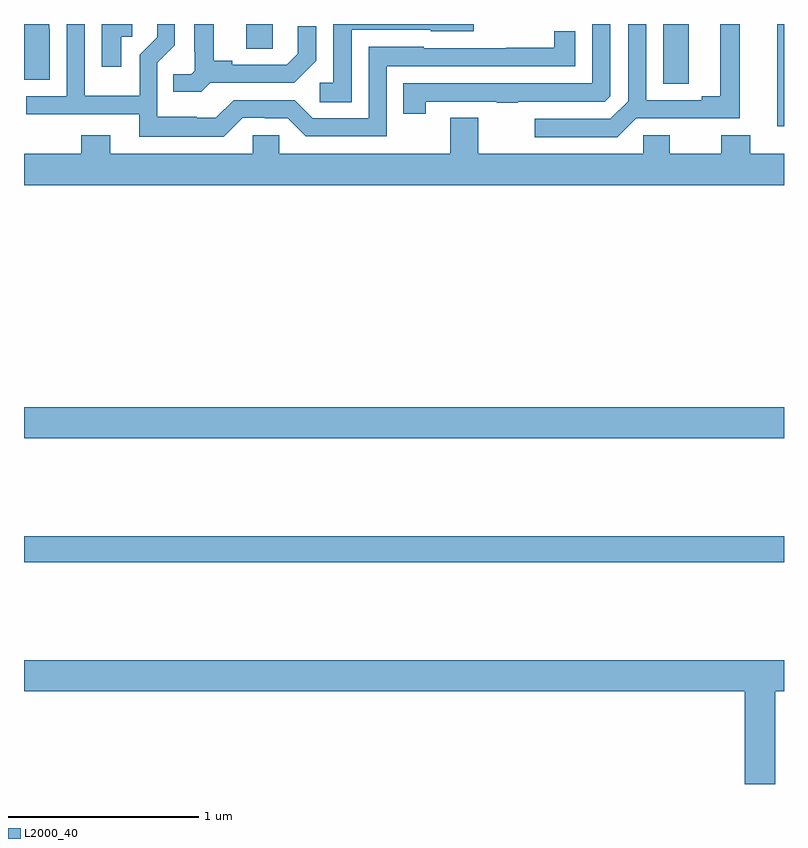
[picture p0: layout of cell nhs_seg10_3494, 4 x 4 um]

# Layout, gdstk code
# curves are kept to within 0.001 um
import gdstk
lib = gdstk.Library(unit=1e-6, precision=1e-09)
def R(c, l, rs):  # rectangles x0, y0, x1, y1
    for r in rs: c.add(gdstk.rectangle(r[:2], r[2:], *l))
def P(c, l, *ps):  # polygons
    for p in ps: c.add(gdstk.Polygon(p, *l))
L2000_40 = (2000, 40)

nhs_seg10_3494 = lib.new_cell('nhs_seg10_3494')
R(nhs_seg10_3494, L2000_40, [(301,1295.668,305,1295.804), (301,1296.32,305,1296.484), (304.964,1297.962,305,1298.5), (304.364,1298.185,304.498,1298.5), (302.171,1298.371,302.31,1298.5)])
P(nhs_seg10_3494, L2000_40, [(303.114,1298.091),(303.487,1298.091),(303.487,1298.086),(303.599,1298.086),(303.599,1298.091),(304.056,1298.091),(304.086,1298.121),(304.086,1298.5),(303.989,1298.5),(303.99,1298.187),(302.995,1298.187),(302.995,1298.028),(303.114,1298.028)],
  [(302.151,1298.007),(302.268,1298.007),(302.268,1298.004),(302.388,1298.004),(302.484,1297.908),(302.91,1297.908),(302.91,1298.277),(303.9,1298.277),(303.9,1298.462),(303.792,1298.462),(303.792,1298.374),(303.105,1298.373),(303.105,1298.38),(302.814,1298.38),(302.814,1298.004),(302.52,1298.004),(302.424,1298.1),(302.103,1298.1),(302.01,1298.007),(301.91,1298.007),(301.91,1298.011),(301.701,1298.011),(301.701,1298.295),(301.794,1298.388),(301.794,1298.5),(301.7,1298.5),(301.7,1298.43),(301.608,1298.338),(301.608,1298.122),(301.32,1298.122),(301.32,1298.5),(301.224,1298.5),(301.224,1298.121),(301.011,1298.121),(301.011,1298.025),(301.607,1298.025),(301.607,1297.907),(302.051,1297.907)],
  [(301.513,1298.433),(301.57,1298.433),(301.57,1298.5),(301.409,1298.5),(301.409,1298.274),(301.513,1298.274)],
  [(301.135,1298.474),(301.134,1298.474),(301.134,1298.5),(301,1298.5),(301,1298.206),(301.135,1298.206)],
  [(301.98,1298.19),(302.422,1298.19),(302.538,1298.306),(302.538,1298.488),(302.441,1298.488),(302.441,1298.343),(302.384,1298.286),(302.095,1298.286),(302.095,1298.306),(301.999,1298.306),(301.999,1298.5),(301.895,1298.5),(301.895,1298.353),(301.899,1298.353),(301.899,1298.253),(301.881,1298.235),(301.786,1298.235),(301.786,1298.143),(301.932,1298.143)],
  [(304.222,1298.004),(304.768,1298.004),(304.768,1298.5),(304.664,1298.5),(304.664,1298.12),(304.568,1298.12),(304.568,1298.1),(304.275,1298.1),(304.275,1298.5),(304.179,1298.5),(304.179,1298.094),(304.086,1298.001),(303.687,1298.001),(303.687,1297.905),(304.123,1297.905)],
  [(302.724,1298.469),(303.141,1298.469),(303.141,1298.463),(303.366,1298.463),(303.366,1298.5),(302.628,1298.5),(302.628,1298.19),(302.556,1298.19),(302.556,1298.089),(302.724,1298.089)],
  [(304.26,1297.914),(304.26,1297.816),(303.391,1297.816),(303.391,1298.006),(303.244,1298.006),(303.244,1297.816),(302.343,1297.816),(302.343,1297.914),(302.205,1297.914),(302.205,1297.816),(301.453,1297.816),(301.453,1297.915),(301.301,1297.915),(301.301,1297.816),(301,1297.816),(301,1297.652),(305,1297.652),(305,1297.816),(304.823,1297.816),(304.823,1297.915),(304.67,1297.915),(304.67,1297.816),(304.399,1297.816),(304.399,1297.914)],
  [(304.953,1294.988),(305,1294.988),(305,1295.152),(301,1295.152),(301,1294.988),(304.793,1294.988),(304.793,1294.5),(304.953,1294.5)])

lib.write_gds('nhs_seg10_3494.gds')
